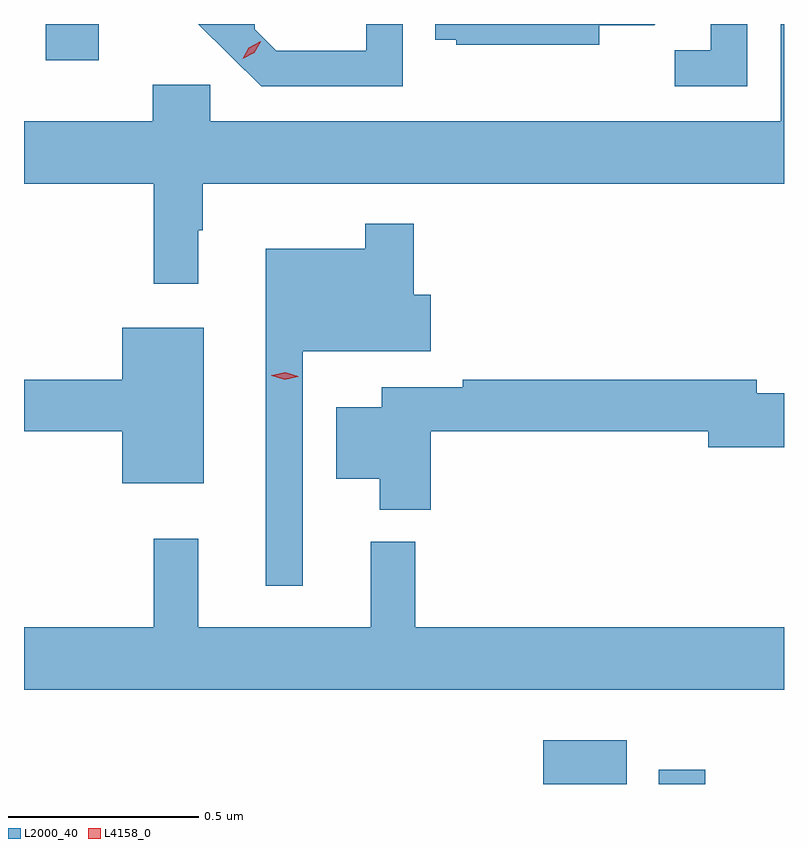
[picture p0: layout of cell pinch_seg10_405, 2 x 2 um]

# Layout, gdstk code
import gdstk
lib = gdstk.Library(unit=1e-6, precision=1e-09)
def R(c, l, rs):  # rectangles x0, y0, x1, y1
    for r in rs: c.add(gdstk.rectangle(r[:2], r[2:], *l))
def P(c, l, *ps):  # polygons
    for p in ps: c.add(gdstk.Polygon(p, *l))
L2000_40 = (2000, 40)
L4158_0 = (4158, 0)

pinch_seg10_405 = lib.new_cell('pinch_seg10_405')
R(pinch_seg10_405, L2000_40, [(594.925,1282.752,595.144,1282.867), (595.229,1282.752,595.351,1282.789), (593.615,1284.657,593.755,1284.752)])
P(pinch_seg10_405, L2000_40, [(594.016,1284.209),(594.028,1284.209),(594.028,1284.332),(595.558,1284.332),(595.558,1284.752),(595.55,1284.752),(595.55,1284.496),(594.048,1284.496),(594.048,1284.592),(593.897,1284.592),(593.897,1284.496),(593.558,1284.496),(593.558,1284.332),(593.899,1284.332),(593.899,1284.069),(594.016,1284.069)],
  [(594.555,1284.752),(594.459,1284.752),(594.459,1284.681),(594.222,1284.681),(594.165,1284.738),(594.165,1284.752),(594.016,1284.752),(594.098,1284.671),(594.182,1284.588),(594.555,1284.588)],
  [(595.461,1284.752),(595.365,1284.752),(595.365,1284.683),(595.27,1284.683),(595.27,1284.588),(595.461,1284.588)],
  [(595.072,1284.749),(595.216,1284.749),(595.219,1284.752),(594.64,1284.752),(594.64,1284.71),(594.696,1284.71),(594.696,1284.698),(595.072,1284.698)],
  [(594.291,1283.891),(594.628,1283.891),(594.628,1284.039),(594.584,1284.039),(594.584,1284.226),(594.456,1284.226),(594.456,1284.16),(594.194,1284.16),(594.194,1283.274),(594.291,1283.274)],
  [(594.031,1283.953),(593.816,1283.953),(593.816,1283.816),(593.558,1283.816),(593.558,1283.68),(593.816,1283.68),(593.816,1283.543),(594.031,1283.543)],
  [(594.629,1283.68),(595.358,1283.68),(595.358,1283.638),(595.558,1283.638),(595.558,1283.78),(595.486,1283.78),(595.486,1283.816),(594.712,1283.816),(594.712,1283.796),(594.5,1283.796),(594.5,1283.743),(594.38,1283.743),(594.38,1283.555),(594.494,1283.555),(594.494,1283.474),(594.629,1283.474)],
  [(595.558,1283.164),(594.587,1283.164),(594.587,1283.389),(594.47,1283.389),(594.47,1283.164),(594.017,1283.164),(594.017,1283.398),(593.899,1283.398),(593.899,1283.164),(593.558,1283.164),(593.558,1283),(595.558,1283)])
P(pinch_seg10_405, L4158_0, [(594.244,1283.816),(594.21,1283.827),(594.209,1283.828),(594.21,1283.828),(594.245,1283.836),(594.28,1283.825),(594.28,1283.825),(594.28,1283.824)],
  [(594.133,1284.661),(594.133,1284.661),(594.15,1284.69),(594.181,1284.706),(594.181,1284.706),(594.181,1284.705),(594.164,1284.676),(594.133,1284.661)])

lib.write_gds('pinch_seg10_405.gds')
